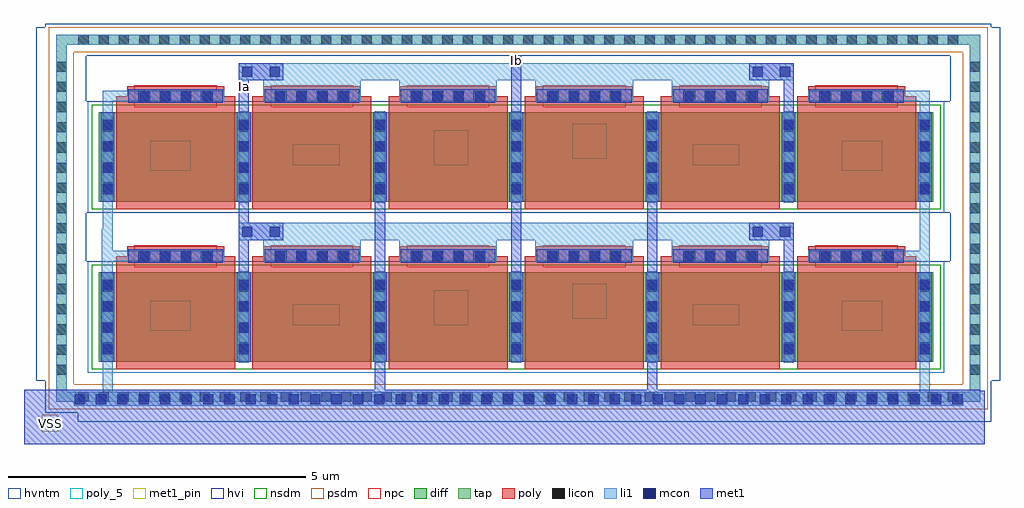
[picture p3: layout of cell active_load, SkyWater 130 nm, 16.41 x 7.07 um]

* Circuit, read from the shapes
.subckt active_load Ia Ib VSS
XM1 Ia VSS VSS VSS sky130_fd_pr__nfet_g5v0d10v5 w=1.5 l=2 m=4
XM2 VSS Ia Ia VSS sky130_fd_pr__nfet_g5v0d10v5 w=1.5 l=2 m=4
XM3 Ib Ia VSS VSS sky130_fd_pr__nfet_g5v0d10v5 w=1.5 l=2 m=4
.ends

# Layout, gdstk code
from math import pi, radians
import gdstk
lib = gdstk.Library(unit=1e-6, precision=1e-09)
def R(c, l, rs):  # rectangles x0, y0, x1, y1
    for r in rs: c.add(gdstk.rectangle(r[:2], r[2:], *l))
def A(c, l, x, y, w, h, nx, ny, dx, dy):  # array of equal rectangles
    R(c, l, [(x+i*dx, y+j*dy, x+i*dx+w, y+j*dy+h) for i in range(nx) for j in range(ny)])
diff = (65, 20)
tap = (65, 44)
poly_5 = (66, 5)
poly = (66, 20)
licon = (66, 44)
li1 = (67, 20)
mcon = (67, 44)
met1_pin = (68, 16)
met1 = (68, 20)
hvi = (75, 20)
nsdm = (93, 44)
psdm = (94, 20)
npc = (95, 20)
hvntm = (125, 20)

sky130_fd_pr__nfet_g5v0d = lib.new_cell('sky130_fd_pr__nfet_g5v0d10v5_DLG898')
R(sky130_fd_pr__nfet_g5v0d, diff, [(-1.29,-0.905,1.29,0.595)])
R(sky130_fd_pr__nfet_g5v0d, poly_5, [(-0.43,-0.385,0.25,0.115)])
R(sky130_fd_pr__nfet_g5v0d, poly, [(-1,-1.035,1,0.87), (-0.815,0.87,0.815,1.035)])
A(sky130_fd_pr__nfet_g5v0d, licon, -1.23, -0.75, 0.17, 0.17, 1, 4, 0, 0.34)
A(sky130_fd_pr__nfet_g5v0d, licon, 1.06, -0.75, 0.17, 0.17, 1, 4, 0, 0.34)
A(sky130_fd_pr__nfet_g5v0d, licon, -0.595, 0.785, 0.17, 0.17, 4, 1, 0.34, 0)
R(sky130_fd_pr__nfet_g5v0d, li1, [(-1.23,-0.925,-1.06,0.785), (1.06,-0.925,1.23,0.615), (-1.23,0.785,0.815,0.955)])
A(sky130_fd_pr__nfet_g5v0d, mcon, -1.23, -0.78, 0.17, 0.17, 1, 4, 0, 0.36)
A(sky130_fd_pr__nfet_g5v0d, mcon, 1.06, -0.78, 0.17, 0.17, 1, 4, 0, 0.36)
A(sky130_fd_pr__nfet_g5v0d, mcon, -0.625, 0.785, 0.17, 0.17, 4, 1, 0.36, 0)
R(sky130_fd_pr__nfet_g5v0d, met1, [(-1.26,-0.905,-1.03,0.595), (1.03,-0.905,1.26,0.595), (-0.795,0.755,0.795,0.985)])
R(sky130_fd_pr__nfet_g5v0d, hvi, [(-1.475,-1.09,1.475,0.78)])
R(sky130_fd_pr__nfet_g5v0d, nsdm, [(-1.415,-1.03,1.415,0.72)])
R(sky130_fd_pr__nfet_g5v0d, npc, [(-0.695,0.685,0.695,1.055)])
R(sky130_fd_pr__nfet_g5v0d, hvntm, [(-1.475,-1.09,1.475,0.78)])
sky130_fd_pr__nfet_g5v0d.add(gdstk.Label('D', (-0.09,-0.135), layer=66, texttype=5))

c_sky130_fd_pr__nfet_g5v0d = lib.new_cell('sky130_fd_pr__nfet_g5v0d10v5_DLGG98')
R(c_sky130_fd_pr__nfet_g5v0d, diff, [(-1.29,-0.905,1.29,0.595)])
R(c_sky130_fd_pr__nfet_g5v0d, poly_5, [(-0.32,-0.295,0.47,0.055)])
R(c_sky130_fd_pr__nfet_g5v0d, poly, [(-1,-1.035,1,0.87), (-0.815,0.87,0.815,1.035)])
A(c_sky130_fd_pr__nfet_g5v0d, licon, -1.23, -0.75, 0.17, 0.17, 1, 4, 0, 0.34)
A(c_sky130_fd_pr__nfet_g5v0d, licon, 1.06, -0.75, 0.17, 0.17, 1, 4, 0, 0.34)
A(c_sky130_fd_pr__nfet_g5v0d, licon, -0.595, 0.785, 0.17, 0.17, 4, 1, 0.34, 0)
R(c_sky130_fd_pr__nfet_g5v0d, li1, [(-1.23,-0.925,-1.06,0.615), (1.06,-0.925,1.23,0.615), (-0.82,0.785,0.82,1.135), (-1.23,1.135,0.82,1.425)])
A(c_sky130_fd_pr__nfet_g5v0d, mcon, -1.23, -0.78, 0.17, 0.17, 1, 4, 0, 0.36)
A(c_sky130_fd_pr__nfet_g5v0d, mcon, 1.06, -0.78, 0.17, 0.17, 1, 4, 0, 0.36)
A(c_sky130_fd_pr__nfet_g5v0d, mcon, -0.625, 0.785, 0.17, 0.17, 4, 1, 0.36, 0)
R(c_sky130_fd_pr__nfet_g5v0d, mcon, [(-1.17,1.195,-1,1.365), (-0.71,1.195,-0.54,1.365)])
R(c_sky130_fd_pr__nfet_g5v0d, met1, [(1.06,-1.305,1.23,-0.905), (-1.26,-0.905,-1.03,0.595), (1.03,-0.905,1.26,0.595), (-1.23,0.595,-1.06,1.135), (-0.795,0.755,0.795,0.985), (-1.23,1.135,-0.48,1.425)])
R(c_sky130_fd_pr__nfet_g5v0d, hvi, [(-1.475,-1.09,1.475,0.78)])
R(c_sky130_fd_pr__nfet_g5v0d, nsdm, [(-1.415,-1.03,1.415,0.72)])
R(c_sky130_fd_pr__nfet_g5v0d, npc, [(-0.695,0.685,0.695,1.055)])
R(c_sky130_fd_pr__nfet_g5v0d, hvntm, [(-1.475,-1.09,1.475,0.78)])
c_sky130_fd_pr__nfet_g5v0d.add(gdstk.Label('M11', (0.075,-0.12), layer=66, texttype=5))

c_sky130_fd_pr__nfet_g5v0d_ = lib.new_cell('sky130_fd_pr__nfet_g5v0d10v5_PM92V7')
R(c_sky130_fd_pr__nfet_g5v0d_, diff, [(-2.435,-0.905,2.435,0.595)])
R(c_sky130_fd_pr__nfet_g5v0d_, poly_5, [(-1.385,-0.295,-0.805,0.295), (0.945,-0.185,1.525,0.405)])
R(c_sky130_fd_pr__nfet_g5v0d_, poly, [(-2.145,-1.035,-0.145,0.87), (0.145,-1.035,2.145,0.87), (-1.96,0.87,-0.33,1.035), (0.33,0.87,1.96,1.035)])
A(c_sky130_fd_pr__nfet_g5v0d_, licon, -2.375, -0.75, 0.17, 0.17, 3, 4, 2.29, 0.34)
A(c_sky130_fd_pr__nfet_g5v0d_, licon, -1.74, 0.785, 0.17, 0.17, 4, 1, 0.34, 0)
A(c_sky130_fd_pr__nfet_g5v0d_, licon, 0.55, 0.785, 0.17, 0.17, 4, 1, 0.34, 0)
A(c_sky130_fd_pr__nfet_g5v0d_, li1, -2.375, -0.925, 0.17, 1.54, 3, 1, 2.29, 0)
R(c_sky130_fd_pr__nfet_g5v0d_, li1, [(-1.965,0.785,-0.325,1.135), (0.325,0.785,1.965,1.135), (-2.615,1.135,2.765,1.425)])
A(c_sky130_fd_pr__nfet_g5v0d_, mcon, -2.375, -0.78, 0.17, 0.17, 3, 4, 2.29, 0.36)
A(c_sky130_fd_pr__nfet_g5v0d_, mcon, -1.77, 0.785, 0.17, 0.17, 4, 1, 0.36, 0)
A(c_sky130_fd_pr__nfet_g5v0d_, mcon, 0.52, 0.785, 0.17, 0.17, 4, 1, 0.36, 0)
A(c_sky130_fd_pr__nfet_g5v0d_, met1, -2.405, -0.905, 0.23, 1.5, 3, 1, 2.29, 0)
R(c_sky130_fd_pr__nfet_g5v0d_, met1, [(-0.085,0.595,0.085,1.535), (-1.94,0.755,-0.35,0.985), (0.35,0.755,1.94,0.985)])
R(c_sky130_fd_pr__nfet_g5v0d_, hvi, [(-2.62,-1.09,2.62,0.78)])
R(c_sky130_fd_pr__nfet_g5v0d_, nsdm, [(-2.56,-1.03,2.56,0.72)])
R(c_sky130_fd_pr__nfet_g5v0d_, npc, [(-1.84,0.685,-0.45,1.055), (0.45,0.685,1.84,1.055)])
R(c_sky130_fd_pr__nfet_g5v0d_, hvntm, [(-2.62,-1.09,2.62,0.78)])
c_sky130_fd_pr__nfet_g5v0d_.add(gdstk.Label('M4', (-1.095,0), layer=66, texttype=5))
c_sky130_fd_pr__nfet_g5v0d_.add(gdstk.Label('M4', (1.235,0.11), layer=66, texttype=5))

active_load = lib.new_cell('active_load')
R(active_load, tap, [(-0.715,-3.235,14.815,-3.065), (-0.715,-3.065,-0.545,2.765), (14.645,-3.065,14.815,2.765), (-0.715,2.765,14.815,2.935)])
A(active_load, licon, -0.345, -3.235, 0.17, 0.17, 44, 2, 0.34, 6)
A(active_load, licon, -0.715, -2.785, 0.17, 0.17, 1, 16, 0, 0.34)
A(active_load, licon, 14.645, -2.785, 0.17, 0.17, 1, 16, 0, 0.34)
R(active_load, li1, [(-0.42,-3.3,14.53,-3.235), (-0.715,-3.235,14.815,-3.065), (-0.715,-3.065,-0.545,2.765), (0.06,-3.065,0.23,-2.57), (13.8,-3.065,13.97,-2.27), (14.645,-3.065,14.815,2.765), (0.05,-2.57,0.23,-0.33), (13.8,-1.03,13.97,0.22), (0.06,-0.33,0.23,0.16), (-0.715,2.765,14.815,2.935)])
A(active_load, mcon, -0.41, -3.28, 0.17, 0.17, 42, 1, 0.36, 0)
R(active_load, met1_pin, [(-0.96,-3.74,-0.68,-3.45), (2.39,2.02,2.49,2.1), (7,2.48,7.05,2.53)])
R(active_load, met1, [(-1.26,-3.95,14.89,-3.05), (-1.26,-3.05,14.81,-3.03), (4.64,-3.03,4.81,-2.75), (9.22,-3.03,9.39,-1.48), (4.64,-1.38,4.81,-0.09), (9.22,-1.26,9.39,0.03), (2.35,-0.72,2.52,0.39), (6.93,-0.27,7.1,1.02), (2.35,2.02,2.52,2.16), (7,2.48,7.05,2.53)])
R(active_load, hvi, [(-0.36,-3.57,15,-3.42), (-0.9,-3.42,15,-2.88), (-1.05,-2.88,15.15,-2.73), (-1.05,-2.73,-0.185,-0.875), (14.215,-2.73,15.15,-0.875), (-1.05,-0.875,-0.21,-0.055), (14.31,-0.875,15.15,-0.055), (-1.05,-0.055,-0.185,1.815), (14.215,-0.055,15.15,1.815), (-1.05,1.815,-0.21,2.58), (14.31,1.815,15.15,2.58), (-1.05,2.58,15.15,3.06), (-0.9,3.06,15,3.12)])
R(active_load, psdm, [(-0.84,-3.36,14.94,-2.94), (-0.84,-2.94,-0.42,2.64), (14.52,-2.94,14.94,2.64), (-0.84,2.64,14.94,3.06)])
active_load.add(gdstk.Reference(sky130_fd_pr__nfet_g5v0d, (1.29,-1.655)))
active_load.add(gdstk.Reference(c_sky130_fd_pr__nfet_g5v0d, (3.58,-1.655)))
active_load.add(gdstk.Reference(c_sky130_fd_pr__nfet_g5v0d, (3.58,1.035)))
active_load.add(gdstk.Reference(c_sky130_fd_pr__nfet_g5v0d_, (7.015,-1.655)))
active_load.add(gdstk.Reference(c_sky130_fd_pr__nfet_g5v0d, (10.45,-1.655), rotation=pi, x_reflection=True))
active_load.add(gdstk.Reference(c_sky130_fd_pr__nfet_g5v0d, (10.45,1.035), rotation=pi, x_reflection=True))
active_load.add(gdstk.Reference(sky130_fd_pr__nfet_g5v0d, (12.74,-1.655), rotation=pi, x_reflection=True))
active_load.add(gdstk.Reference(sky130_fd_pr__nfet_g5v0d, (1.29,1.035)))
active_load.add(gdstk.Reference(c_sky130_fd_pr__nfet_g5v0d_, (7.015,1.035)))
active_load.add(gdstk.Reference(sky130_fd_pr__nfet_g5v0d, (12.74,1.035), rotation=pi, x_reflection=True))
active_load.add(gdstk.Label('VSS', (-0.82,-3.595), layer=68, texttype=5))
active_load.add(gdstk.Label('Ia', (2.44,2.06), layer=68, texttype=5))
active_load.add(gdstk.Label('Ib', (7.025,2.505), layer=68, texttype=5))

lib.write_gds('active_load.gds')
